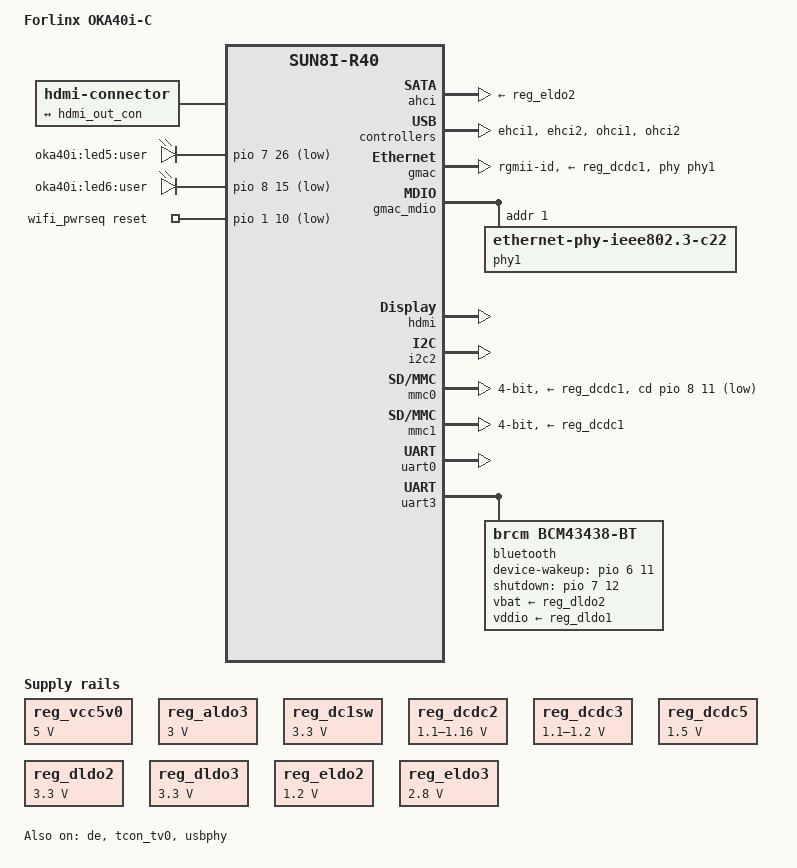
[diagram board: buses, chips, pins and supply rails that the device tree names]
// SPDX-License-Identifier: GPL-2.0+ OR MIT
// Copyright (C) 2021 Ivan Uvarov <i.uvarov@cognitivepilot.com>
// Based on the sun8i-r40-bananapi-m2-ultra.dts, which is: 
//  Copyright (C) 2017 Chen-Yu Tsai <wens@csie.org>
//  Copyright (C) 2017 Icenowy Zheng <icenowy@aosc.io>

/dts-v1/;
#include "sun8i-r40-feta40i.dtsi"

#include <dt-bindings/gpio/gpio.h>

/ {
	model = "Forlinx OKA40i-C";
	compatible = "forlinx,oka40i-c", "allwinner,sun8i-r40";

	aliases {
		ethernet0 = &gmac;
		serial0 = &uart0;
	};

	chosen {
		stdout-path = "serial0:115200n8";
	};

	connector {
		compatible = "hdmi-connector";
		type = "a";

		port {
			hdmi_con_in: endpoint {
				remote-endpoint = <&hdmi_out_con>;
			};
		};
	};

	leds {
		compatible = "gpio-leds";

		user-led-5 {
			label = "oka40i:led5:user";
			gpios = <&pio 7 26 GPIO_ACTIVE_LOW>;
		};

		user-led-6 {
			label = "oka40i:led6:user";
			gpios = <&pio 8 15 GPIO_ACTIVE_LOW>;
		};

	};

	reg_vcc5v0: vcc5v0 {
		compatible = "regulator-fixed";
		regulator-name = "vcc5v0";
		regulator-min-microvolt = <5000000>;
		regulator-max-microvolt = <5000000>;
		//gpio = <&pio 7 23 GPIO_ACTIVE_HIGH>; // PH23 ?
		//enable-active-high;
	};

	wifi_pwrseq: wifi_pwrseq {
		compatible = "mmc-pwrseq-simple";
		reset-gpios = <&pio 1 10 GPIO_ACTIVE_LOW>; // PB10 WIFI_EN
		clocks = <&ccu CLK_OUTA>;
		clock-names = "ext_clock";
	};
};

&ahci {
	ahci-supply = <&reg_dldo4>;
	phy-supply = <&reg_eldo2>;
	status = "okay";
};

&de {
	status = "okay";
};

&ehci1 {
	status = "okay";
};

&ehci2 {
	status = "okay";
};

&gmac {
	pinctrl-names = "default";
	pinctrl-0 = <&gmac_rgmii_pins>;
	phy-handle = <&phy1>;
	phy-mode = "rgmii-id";
	phy-supply = <&reg_dcdc1>;
	status = "okay";
};

&gmac_mdio {
	phy1: ethernet-phy@1 {
		compatible = "ethernet-phy-ieee802.3-c22";
		reg = <1>;
	};
};

&hdmi {
	status = "okay";
};

&hdmi_out {
	hdmi_out_con: endpoint {
		remote-endpoint = <&hdmi_con_in>;
	};
};


&i2c2 {
	status = "okay";
};


&mmc0 {
	vmmc-supply = <&reg_dcdc1>;
	vqmmc-supply = <&reg_dcdc1>;
	bus-width = <4>;
	cd-gpios = <&pio 8 11 GPIO_ACTIVE_LOW>; // PI11
	status = "okay";
};

&mmc1 {
	vmmc-supply = <&reg_dcdc1>;
	vqmmc-supply = <&reg_dcdc1>;
	mmc-pwrseq = <&wifi_pwrseq>;
	bus-width = <4>;
	status = "okay";
};

&ohci1 {
	status = "okay";
};

&ohci2 {
	status = "okay";
};

&reg_aldo3 {
	regulator-always-on;
	regulator-min-microvolt = <3000000>;
	regulator-max-microvolt = <3000000>;
	regulator-name = "avcc";
};

&reg_dc1sw {
	regulator-min-microvolt = <3300000>;
	regulator-max-microvolt = <3300000>;
	regulator-name = "vcc-lcd";
};

&reg_dcdc2 {
	regulator-always-on;
	regulator-min-microvolt = <1100000>;
	regulator-max-microvolt = <1160000>;
	regulator-name = "vdd-cpu";
};//1100000uV

&reg_dcdc3 {
	regulator-always-on;
	regulator-min-microvolt = <1100000>;
	regulator-max-microvolt = <1200000>;
	regulator-name = "vdd-sys";
};//1100000uV


&reg_dcdc5 {
	regulator-always-on;
	regulator-min-microvolt = <1500000>;
	regulator-max-microvolt = <1500000>;
	regulator-name = "vcc-dram";
};

&reg_dldo2 {
	// regulator-always-on;
	regulator-min-microvolt = <3300000>;
	regulator-max-microvolt = <3300000>;
	regulator-name = "vcc-wifi"; // ?
};

&reg_dldo3 {
	// regulator-always-on;
	regulator-min-microvolt = <3300000>;
	regulator-max-microvolt = <3300000>;
	regulator-name = "vcc-wifi-2"; // ?
};

&reg_eldo2 {
	regulator-always-on;
	regulator-min-microvolt = <1200000>;
	regulator-max-microvolt = <1200000>;
	regulator-name = "vdd1v2-sata";
};

&reg_eldo3 {
	regulator-always-on;
	regulator-min-microvolt = <2800000>;
	regulator-max-microvolt = <2800000>;
	regulator-name = "vcc-pe";
};

&tcon_tv0 {
	status = "okay";
};

&uart0 {
	pinctrl-names = "default";
	pinctrl-0 = <&uart0_pb_pins>;
	status = "okay";
};

&uart3 {
	pinctrl-names = "default";
	pinctrl-0 = <&uart3_pg_pins>, <&uart3_rts_cts_pg_pins>;
	uart-has-rtscts;
	status = "okay";

	bluetooth {
		compatible = "brcm,bcm43438-bt";
		clocks = <&ccu CLK_OUTA>;
		clock-names = "lpo";
		vbat-supply = <&reg_dldo2>;
		vddio-supply = <&reg_dldo1>;
		device-wakeup-gpios = <&pio 6 11 GPIO_ACTIVE_HIGH>; /* PG11 */
		/* TODO host wake line connected to PMIC GPIO pins */
		shutdown-gpios = <&pio 7 12 GPIO_ACTIVE_HIGH>; /* PH12 */
		max-speed = <1500000>;
	};
};

&usbphy {
	usb1_vbus-supply = <&reg_vcc5v0>;
	usb2_vbus-supply = <&reg_vcc5v0>;
	status = "okay";
};
